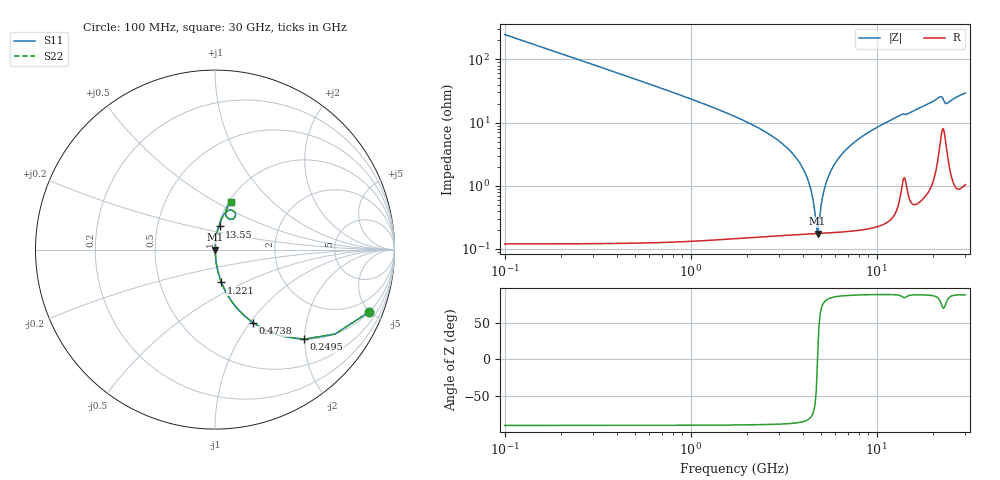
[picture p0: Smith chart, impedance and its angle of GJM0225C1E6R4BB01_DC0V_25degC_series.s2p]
!Murata Part Number: GJM0225C1E6R4BB01
!These Parameters are Measured in Series Mode Connection
!  o--ll--o
!Port1  Port2
!  o------o
!Operation Temp=25[degC], DC Bias Voltage=0[V]
!Freq. Start=100[MHz] Stop=30[GHz], 401[Steps]
!Data Generated on Feb 1, 2023
# Hz S RI R 50
!Freq.(Hz) S11(Real) S11(Imag) S21(Real) S21(Imag) S12(Real) S12(Imag) S22(Real) S22(Imag)
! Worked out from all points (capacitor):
!   401 points, 100 MHz to 30 GHz, reference 50 ohm
!   read as one part in series: C = 6.4 pF near 249.5 MHz
!   lowest |Z| = 175 mohm at 4.809 GHz (marker M1)
!   series resonance near 4.812 GHz, so ESL is about 170 pH
!   S11 on the Smith chart (normalised r, x): 100 MHz: 1.00, -4.97; 249.5 MHz: 1.00, -1.99; 473.8 MHz: 1.00, -1.04; 1.221 GHz: 1.00, -0.38; 13.55 GHz: 1.02, +0.27; 30 GHz: 1.02, +0.59
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1e8  0.8606 -0.3461  0.1394 0.3461  0.1394 0.3461  0.8606 -0.3461
2.495e8  0.497 -0.4994  0.503 0.4994  0.503 0.4994  0.497 -0.4994
4.7375e8  0.2132 -0.4084  0.7868 0.4084  0.7868 0.4084  0.2132 -0.4084
7.7275e8  0.0904 -0.2847  0.9096 0.2847  0.9096 0.2847  0.0904 -0.2847
1.22125e9  0.0362 -0.1832  0.9638 0.1832  0.9638 0.1832  0.0362 -0.1832
3.8375e9  0.00224 -0.0235  0.9978 0.0235  0.9978 0.0235  0.00224 -0.0235
4.36075e9  0.00182 -0.0101  0.9982 0.0101  0.9982 0.0101  0.00182 -0.0101
4.65975e9  0.00175 -0.00331  0.9983 0.00331  0.9983 0.00331  0.00175 -0.00331
4.80925e9  0.00175 -5.96e-05  0.9983 5.96e-05  0.9983 5.96e-05  0.00175 -5.96e-05
4.95875e9  0.00177 0.00309  0.9982 -0.00309  0.9982 -0.00309  0.00177 0.00309
5.10825e9  0.0018 0.00615  0.9982 -0.00615  0.9982 -0.00615  0.0018 0.00615
5.3325e9  0.00189 0.0106  0.9981 -0.0106  0.9981 -0.0106  0.00189 0.0106
5.6315e9  0.00206 0.0163  0.9979 -0.0163  0.9979 -0.0163  0.00206 0.0163
6.5285e9  0.00287 0.0319  0.9971 -0.0319  0.9971 -0.0319  0.00287 0.0319
7.94875e9  0.00489 0.0539  0.9951 -0.0539  0.9951 -0.0539  0.00489 0.0539
1.01165e10  0.00938 0.084  0.9906 -0.084  0.9906 -0.084  0.00938 0.084
1.3555e10  0.0252 0.1291  0.9748 -0.1291  0.9748 -0.1291  0.0252 0.1291
1.505e10  0.0257 0.1383  0.9743 -0.1383  0.9743 -0.1383  0.0257 0.1383
2.005825e10  0.0544 0.2021  0.9456 -0.2021  0.9456 -0.2021  0.0544 0.2021
2.2525e10  0.1143 0.196  0.8857 -0.196  0.8857 -0.196  0.1143 0.196
2.50665e10  0.0603 0.2064  0.9397 -0.2064  0.9397 -0.2064  0.0603 0.2064
3e10  0.0877 0.2656  0.9123 -0.2656  0.9123 -0.2656  0.0877 0.2656
